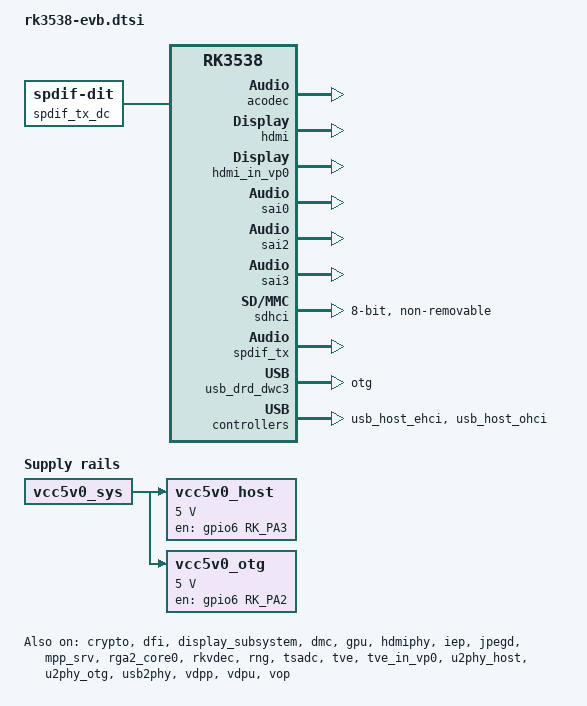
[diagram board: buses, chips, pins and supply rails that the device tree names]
// SPDX-License-Identifier: (GPL-2.0+ OR MIT)
/*
 * Copyright (c) 2025 Rockchip Electronics Co., Ltd.
 *
 */

/ {
	acodec_sound: acodec-sound {
		status = "okay";
		compatible = "simple-audio-card";
		simple-audio-card,name = "rockchip,rk3538-acodec";
		simple-audio-card,format = "i2s";
		simple-audio-card,mclk-fs = <256>;
		simple-audio-card,cpu {
			sound-dai = <&sai2>;
		};
		simple-audio-card,codec {
			sound-dai = <&acodec>;
		};
	};

	bt_sco: bt-sco {
		status = "okay";
		compatible = "delta,dfbmcs320";
		#sound-dai-cells = <1>;
	};

	bt_sound: bt-sound {
		status = "okay";
		compatible = "simple-audio-card";
		simple-audio-card,format = "dsp_a";
		simple-audio-card,bitclock-inversion;
		simple-audio-card,mclk-fs = <256>;
		simple-audio-card,name = "rockchip,bt";
		simple-audio-card,cpu {
			sound-dai = <&sai0>;
		};
		simple-audio-card,codec {
			sound-dai = <&bt_sco 1>;
		};
	};

	hdmi_sound: hdmi-sound {
		compatible = "rockchip,hdmi";
		rockchip,mclk-fs = <128>;
		rockchip,card-name = "rockchip,hdmi";
		rockchip,cpu = <&sai3>;
		rockchip,codec = <&hdmi>;
		rockchip,jack-det;
	};

	pdmics: dummy-codec {
		compatible = "rockchip,dummy-codec";
		#sound-dai-cells = <0>;
	};

	pdm_mic_array: pdm-mic-array {
		status = "disabled";
		compatible = "simple-audio-card";
		simple-audio-card,name = "rockchip,pdm-mic-array";
		simple-audio-card,cpu {
			sound-dai = <&pdm>;
		};
		simple-audio-card,codec {
			sound-dai = <&pdmics>;
		};
	};

	spdif_tx_dc: spdif-tx-dc {
		compatible = "linux,spdif-dit";
		#sound-dai-cells = <0>;
	};

	spdif_tx_sound: spdif-tx-sound {
		status = "disabled";
		compatible = "simple-audio-card";
		simple-audio-card,name = "ROCKCHIP,SPDIF";
		simple-audio-card,mclk-fs = <128>;
		simple-audio-card,cpu {
			sound-dai = <&spdif_tx>;
		};
		simple-audio-card,codec {
			sound-dai = <&spdif_tx_dc>;
		};
	};

	vcc5v0_host: vcc5v0-host-regulator {
		compatible = "regulator-fixed";
		regulator-name = "vcc5v0_host";
		regulator-boot-on;
		regulator-always-on;
		regulator-min-microvolt = <5000000>;
		regulator-max-microvolt = <5000000>;
		enable-active-high;
		gpio = <&gpio6 RK_PA3 GPIO_ACTIVE_HIGH>;
		vin-supply = <&vcc5v0_sys>;
		pinctrl-names = "default";
		pinctrl-0 = <&vcc5v0_host_en>;
	};

	vcc5v0_otg: vcc5v0-otg-regulator {
		compatible = "regulator-fixed";
		regulator-name = "vcc5v0_otg";
		regulator-min-microvolt = <5000000>;
		regulator-max-microvolt = <5000000>;
		enable-active-high;
		gpio = <&gpio6 RK_PA2 GPIO_ACTIVE_HIGH>;
		vin-supply = <&vcc5v0_sys>;
		pinctrl-names = "default";
		pinctrl-0 = <&vcc5v0_otg_en>;
	};
};

&acodec {
	pa-ctl-gpios = <&gpio0 RK_PA1 GPIO_ACTIVE_HIGH>;
	status = "okay";
};

&crypto {
	status = "okay";
};

&dfi {
	status = "okay";
};

&display_subsystem {
	status = "okay";
};

&dmc {
	center-supply = <&vdd_logic>;
	status = "okay";
};

&gpu {
	status = "okay";
};

&hdmi {
	status = "okay";
	cec-enable;
	rockchip,sda-falling-delay-ns = <360>;
};

&hdmi_in_vp0 {
	status = "okay";
};

&hdmiphy {
	status = "okay";
};

&iep {
	status = "okay";
};

&iep_mmu {
	status = "okay";
};

&jpegd {
	status = "okay";
};

&jpeg_mmu {
	status = "okay";
};

&mpp_srv {
	status = "okay";
};

&pinctrl {
	usb {
		vcc5v0_host_en: vcc5v0-host-en {
			rockchip,pins = <6 RK_PA3 RK_FUNC_GPIO &pcfg_pull_none>;
		};

		vcc5v0_otg_en: vcc5v0-otg-en {
			rockchip,pins = <6 RK_PA2 RK_FUNC_GPIO &pcfg_pull_none>;
		};
	};
};

&rga2_core0 {
	status = "okay";
};

&rga2_core0_mmu {
	status = "okay";
};

&rkvdec {
	status = "okay";
};

&rkvdec_mmu {
	status = "okay";
};

&rng {
	status = "okay";
};

&rockchip_suspend {
	status = "okay";
	rockchip,sleep-debug-en = <1>;
	rockchip,virtual-poweroff = <1>;
};

&sai0 {
	status = "okay";
};

&sai2 {
	status = "okay";
	/delete-property/ pinctrl-names;
	/delete-property/ pinctrl-0;
};

&sai3 {
	status = "okay";
};

&sdhci {
	bus-width = <8>;
	max-frequency = <200000000>;
	mmc-hs400-1_8v;
	mmc-hs400-enhanced-strobe;
	no-sd;
	no-sdio;
	non-removable;
	status = "okay";
};

&sdio {
	max-frequency = <200000000>;
	no-sd;
	no-mmc;
	bus-width = <4>;
	cap-sd-highspeed;
	cap-sdio-irq;
	keep-power-in-suspend;
	non-removable;
	pinctrl-names = "default";
	pinctrl-0 = <&sdio_bus4_pins &sdio_cmd_pins &sdio_clk_pins>;
	sd-uhs-sdr104;
	status = "disabled";
};

&spdif_tx {
	status = "okay";
};

&tsadc {
	status = "okay";
};

&tve {
	status = "okay";
};

&tve_in_vp0 {
	status = "okay";
};

&u2phy_host {
	phy-supply = <&vcc5v0_host>;
	status = "okay";
};

&u2phy_otg {
	vbus-supply = <&vcc5v0_otg>;
	status = "okay";
};

&usb2phy {
	status = "okay";
};

&usb_drd_dwc3 {
	dr_mode = "otg";
	extcon = <&usb2phy>;
	status = "okay";
};

&usb_host_ehci {
	status = "okay";
};

&usb_host_ohci {
	status = "okay";
};

&vdpp {
	status = "okay";
};

&vdpu {
	status = "okay";
};

&vdpu_mmu {
	status = "okay";
};

&vop {
	status = "okay";
};

&vop_mmu {
	status = "okay";
};
